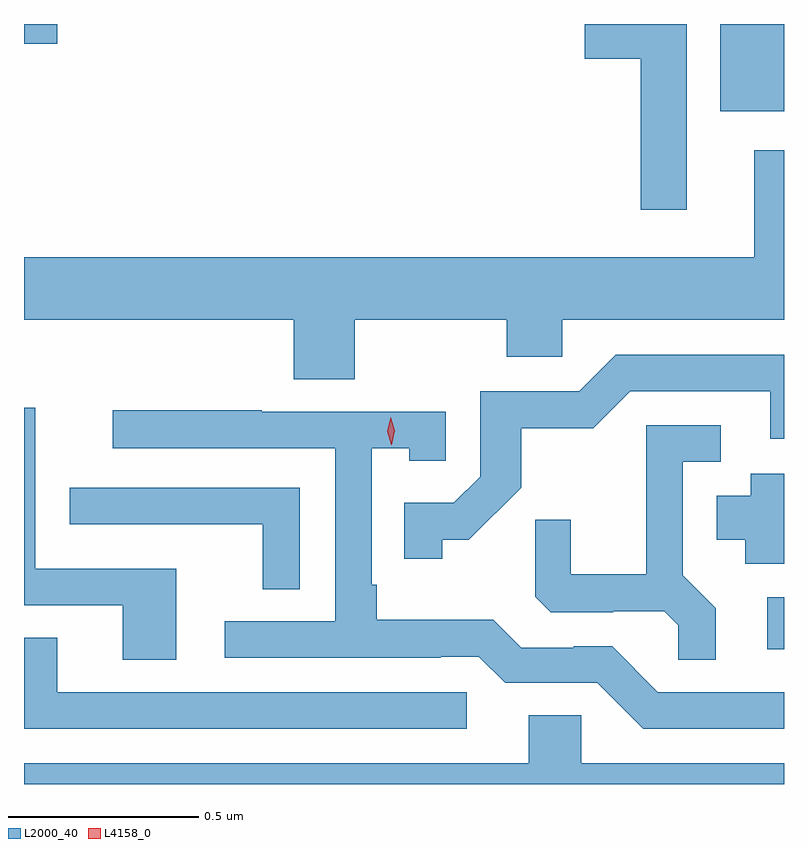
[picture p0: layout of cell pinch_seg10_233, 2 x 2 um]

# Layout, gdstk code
import gdstk
lib = gdstk.Library(unit=1e-6, precision=1e-09)
def R(c, l, rs):  # rectangles x0, y0, x1, y1
    for r in rs: c.add(gdstk.rectangle(r[:2], r[2:], *l))
def P(c, l, *ps):  # polygons
    for p in ps: c.add(gdstk.Polygon(p, *l))
L2000_40 = (2000, 40)
L4158_0 = (4158, 0)

pinch_seg10_233 = lib.new_cell('pinch_seg10_233')
R(pinch_seg10_233, L2000_40, [(626.919,1298.117,626.963,1298.253), (626.795,1299.533,626.963,1299.762), (624.963,1299.71,625.051,1299.762)])
P(pinch_seg10_233, L2000_40, [(626.707,1299.762),(626.438,1299.762),(626.438,1299.671),(626.586,1299.671),(626.586,1299.273),(626.707,1299.273)],
  [(624.963,1298.984),(625.673,1298.984),(625.673,1298.827),(625.833,1298.827),(625.833,1298.984),(626.233,1298.984),(626.233,1298.886),(626.379,1298.886),(626.379,1298.984),(626.963,1298.984),(626.963,1299.43),(626.885,1299.43),(626.885,1299.148),(624.963,1299.148)],
  [(626.064,1298.405),(626.134,1298.405),(626.272,1298.542),(626.272,1298.698),(626.461,1298.698),(626.559,1298.796),(626.927,1298.796),(626.927,1298.67),(626.963,1298.67),(626.963,1298.892),(626.52,1298.892),(626.424,1298.796),(626.163,1298.796),(626.163,1298.571),(626.094,1298.502),(625.963,1298.502),(625.963,1298.355),(626.064,1298.355)],
  [(625.363,1298.328),(624.993,1298.328),(624.993,1298.752),(624.963,1298.752),(624.963,1298.232),(625.223,1298.232),(625.223,1298.089),(625.363,1298.089)],
  [(626.963,1298.004),(626.631,1298.004),(626.511,1298.124),(626.41,1298.124),(626.41,1298.121),(626.271,1298.121),(626.198,1298.194),(625.891,1298.194),(625.891,1298.287),(625.878,1298.287),(625.878,1298.645),(625.977,1298.645),(625.977,1298.613),(626.073,1298.613),(626.073,1298.742),(625.589,1298.742),(625.589,1298.745),(625.197,1298.745),(625.197,1298.646),(625.782,1298.646),(625.782,1298.19),(625.491,1298.19),(625.491,1298.094),(626.06,1298.094),(626.06,1298.097),(626.16,1298.097),(626.229,1298.028),(626.472,1298.028),(626.592,1297.908),(626.963,1297.908)],
  [(626.783,1298.225),(626.697,1298.311),(626.697,1298.61),(626.797,1298.61),(626.797,1298.706),(626.6,1298.706),(626.6,1298.314),(626.402,1298.314),(626.402,1298.457),(626.308,1298.457),(626.308,1298.255),(626.349,1298.214),(626.514,1298.214),(626.514,1298.217),(626.648,1298.217),(626.685,1298.18),(626.685,1298.089),(626.783,1298.089)],
  [(626.963,1298.578),(626.876,1298.578),(626.876,1298.521),(626.786,1298.521),(626.786,1298.405),(626.861,1298.405),(626.861,1298.342),(626.963,1298.342)],
  [(625.689,1298.541),(625.083,1298.541),(625.083,1298.446),(625.195,1298.446),(625.195,1298.445),(625.591,1298.445),(625.591,1298.275),(625.689,1298.275)],
  [(626.128,1298.004),(625.051,1298.004),(625.051,1298.147),(624.963,1298.147),(624.963,1297.908),(626.128,1297.908)],
  [(626.963,1297.816),(626.43,1297.816),(626.43,1297.943),(626.291,1297.943),(626.291,1297.816),(624.963,1297.816),(624.963,1297.762),(626.963,1297.762)])
P(pinch_seg10_233, L4158_0, [(625.93,1298.655),(625.919,1298.69),(625.928,1298.727),(625.928,1298.727),(625.928,1298.727),(625.939,1298.691),(625.931,1298.655),(625.931,1298.655)])

lib.write_gds('pinch_seg10_233.gds')
